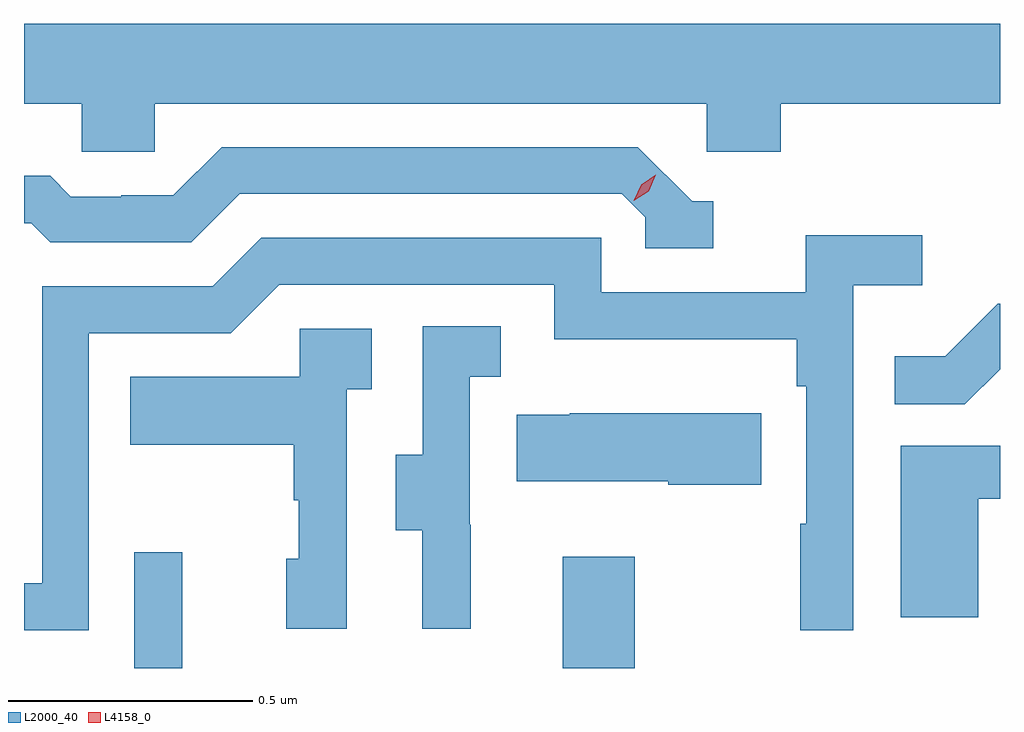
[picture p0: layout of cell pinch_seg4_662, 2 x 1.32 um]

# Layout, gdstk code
import gdstk
lib = gdstk.Library(unit=1e-6, precision=1e-09)
def R(c, l, rs):  # rectangles x0, y0, x1, y1
    for r in rs: c.add(gdstk.rectangle(r[:2], r[2:], *l))
def P(c, l, *ps):  # polygons
    for p in ps: c.add(gdstk.Polygon(p, *l))
L2000_40 = (2000, 40)
L4158_0 = (4158, 0)

pinch_seg4_662 = lib.new_cell('pinch_seg4_662')
R(pinch_seg4_662, L2000_40, [(1058.655,750.375,1058.753,750.613), (1059.533,750.375,1059.681,750.604)])
P(pinch_seg4_662, L2000_40, [(1058.697,751.532),(1059.828,751.532),(1059.828,751.434),(1059.98,751.434),(1059.98,751.532),(1060.429,751.532),(1060.429,751.696),(1058.429,751.696),(1058.429,751.532),(1058.547,751.532),(1058.547,751.434),(1058.697,751.434)],
  [(1059.841,751.332),(1059.798,751.332),(1059.687,751.443),(1058.834,751.443),(1058.735,751.344),(1058.628,751.344),(1058.628,751.341),(1058.525,751.341),(1058.483,751.384),(1058.429,751.384),(1058.429,751.287),(1058.444,751.287),(1058.483,751.248),(1058.772,751.248),(1058.871,751.347),(1059.654,751.347),(1059.702,751.299),(1059.702,751.236),(1059.841,751.236)],
  [(1058.562,751.062),(1058.853,751.062),(1058.952,751.161),(1059.516,751.161),(1059.516,751.049),(1060.012,751.049),(1060.012,750.953),(1060.032,750.953),(1060.032,750.671),(1060.02,750.671),(1060.02,750.453),(1060.128,750.453),(1060.128,751.16),(1060.27,751.16),(1060.27,751.262),(1060.031,751.262),(1060.031,751.146),(1059.612,751.146),(1059.612,751.257),(1058.915,751.257),(1058.816,751.158),(1058.466,751.158),(1058.466,750.549),(1058.429,750.549),(1058.429,750.453),(1058.562,750.453)],
  [(1060.429,750.988),(1060.429,751.122),(1060.424,751.122),(1060.317,751.015),(1060.213,751.015),(1060.213,750.916),(1060.357,750.916)],
  [(1059.344,750.669),(1059.342,750.669),(1059.342,750.973),(1059.406,750.973),(1059.406,751.076),(1059.246,751.076),(1059.246,750.813),(1059.191,750.813),(1059.191,750.658),(1059.245,750.658),(1059.245,750.456),(1059.344,750.456)],
  [(1059.09,750.947),(1059.142,750.947),(1059.142,751.071),(1058.994,751.071),(1058.994,750.973),(1058.647,750.973),(1058.647,750.833),(1058.982,750.833),(1058.982,750.719),(1058.992,750.719),(1058.992,750.6),(1058.966,750.6),(1058.966,750.456),(1059.09,750.456)],
  [(1059.94,750.898),(1059.547,750.898),(1059.547,750.895),(1059.439,750.895),(1059.439,750.758),(1059.749,750.758),(1059.749,750.751),(1059.94,750.751)],
  [(1060.384,750.723),(1060.429,750.723),(1060.429,750.831),(1060.226,750.831),(1060.226,750.48),(1060.384,750.48)])
P(pinch_seg4_662, L4158_0, [(1059.678,751.333),(1059.678,751.333),(1059.694,751.366),(1059.724,751.386),(1059.724,751.386),(1059.724,751.386),(1059.709,751.353),(1059.678,751.333)])

lib.write_gds('pinch_seg4_662.gds')
